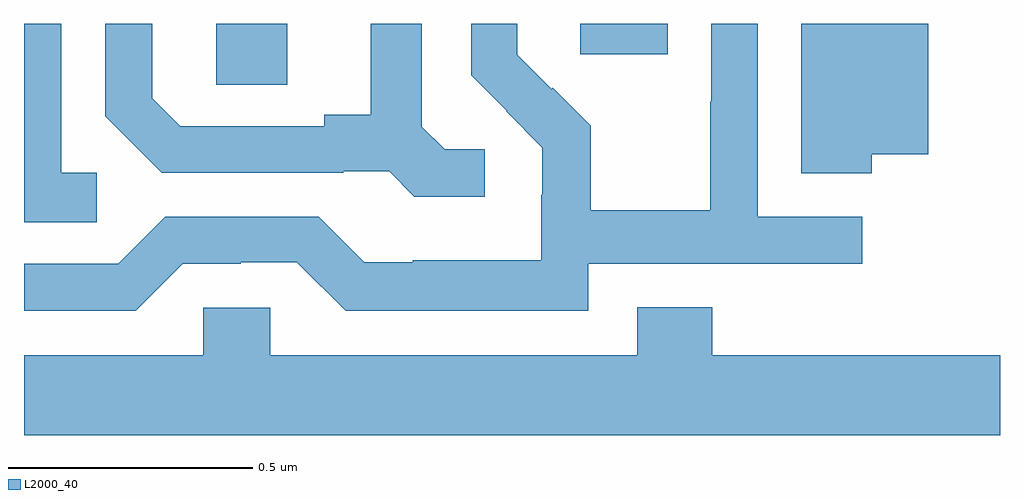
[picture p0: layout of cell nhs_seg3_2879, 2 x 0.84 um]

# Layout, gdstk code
import gdstk
lib = gdstk.Library(unit=1e-6, precision=1e-09)
def R(c, l, rs):  # rectangles x0, y0, x1, y1
    for r in rs: c.add(gdstk.rectangle(r[:2], r[2:], *l))
def P(c, l, *ps):  # polygons
    for p in ps: c.add(gdstk.Polygon(p, *l))
L2000_40 = (2000, 40)

nhs_seg3_2879 = lib.new_cell('nhs_seg3_2879')
R(nhs_seg3_2879, L2000_40, [(146.394,728.275,146.539,728.4), (147.14,728.337,147.319,728.4)])
P(nhs_seg3_2879, L2000_40, [(147.737,728.132),(147.853,728.132),(147.853,728.4),(147.593,728.4),(147.593,728.093),(147.737,728.093)],
  [(146.944,728.142),(146.862,728.142),(146.815,728.189),(146.815,728.4),(146.711,728.4),(146.711,728.213),(146.615,728.213),(146.615,728.19),(146.32,728.19),(146.263,728.247),(146.263,728.4),(146.166,728.4),(146.166,728.21),(146.282,728.094),(146.654,728.094),(146.654,728.097),(146.748,728.097),(146.8,728.045),(146.944,728.045)],
  [(147.156,727.908),(147.718,727.908),(147.718,728.004),(147.504,728.004),(147.504,728.4),(147.408,728.4),(147.408,728.24),(147.406,728.24),(147.406,728.017),(147.161,728.017),(147.161,728.191),(147.084,728.268),(147.081,728.265),(147.011,728.336),(147.011,728.4),(146.916,728.4),(146.916,728.294),(146.989,728.221),(146.988,728.22),(147.062,728.146),(147.062,728.049),(147.06,728.049),(147.06,727.915),(146.797,727.915),(146.797,727.911),(146.697,727.911),(146.604,728.004),(146.289,728.004),(146.193,727.908),(146,727.908),(146,727.812),(146.229,727.812),(146.325,727.908),(146.444,727.908),(146.444,727.911),(146.559,727.911),(146.659,727.811),(147.156,727.811)],
  [(146.149,728.094),(146.076,728.094),(146.076,728.4),(146,728.4),(146,727.993),(146.149,727.993)],
  [(148,727.72),(147.41,727.72),(147.41,727.819),(147.257,727.819),(147.257,727.72),(146.505,727.72),(146.505,727.818),(146.367,727.818),(146.367,727.72),(146,727.72),(146,727.556),(148,727.556)])

lib.write_gds('nhs_seg3_2879.gds')
